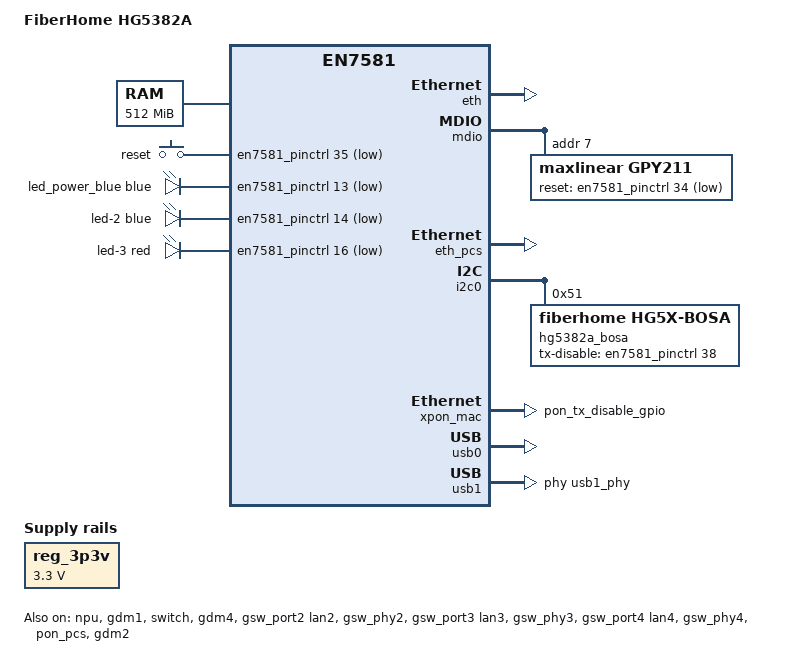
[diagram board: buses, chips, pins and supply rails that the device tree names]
// SPDX-License-Identifier: (GPL-2.0-only OR BSD-2-Clause)
/dts-v1/;

/* Firmware reserves the first 2 MiB of DRAM. */
/memreserve/ 0x80000000 0x200000;

#include <dt-bindings/gpio/gpio.h>
#include <dt-bindings/input/input.h>
#include <dt-bindings/leds/common.h>
#include "an7581.dtsi"
#include "an7581-fiberhome-ubi-parts.dtsi"

/* FiberHome HG5382A board description. */

/ {
	model = "FiberHome HG5382A";
	compatible = "fiberhome,hg5382a", "airoha,an7581", "airoha,en7581";

	aliases {
		/* OpenWrt diag state controls the power LED. */
		led-boot = &led_power_blue;
		led-failsafe = &led_power_blue;
		led-running = &led_power_blue;
		led-upgrade = &led_power_blue;

		serial0 = &uart1;
	};

	chosen {
		/* fitblk locates the FIT-embedded read-only rootfs through this volume. */
		rootdisk = <&ubi_fit>;
		bootargs = "console=ttyS0,115200 earlycon";
		stdout-path = "serial0:115200n8";
	};

	memory@80000000 {
		device_type = "memory";
		reg = <0x0 0x80000000 0x0 0x20000000>;
	};

	keys {
		compatible = "gpio-keys";

		key-reset {
			label = "reset";
			linux,code = <KEY_RESTART>;
			/* The reset key drives GPIO35 low. */
			gpios = <&en7581_pinctrl 35 GPIO_ACTIVE_LOW>;
			debounce-interval = <60>;
		};
	};

	leds {
		compatible = "gpio-leds";

		/* The active-low power LED is connected to GPIO13. */
		led_power_blue: led-0 {
			color = <LED_COLOR_ID_BLUE>;
			function = LED_FUNCTION_POWER;
			gpios = <&en7581_pinctrl 13 GPIO_ACTIVE_LOW>;
		};

		/* PON registration maps O1-O3 to fast blink, O4 to slow blink, and O5 on. */
		led-2 {
			color = <LED_COLOR_ID_BLUE>;
			function = LED_FUNCTION_WAN;
			gpios = <&en7581_pinctrl 14 GPIO_ACTIVE_LOW>;
			linux,default-trigger = "pon0-registration";
		};

		/* The LOS LED follows optical signal loss. */
		led-3 {
			color = <LED_COLOR_ID_RED>;
			function = LED_FUNCTION_WAN;
			gpios = <&en7581_pinctrl 16 GPIO_ACTIVE_LOW>;
			linux,default-trigger = "pon0-los";
		};
	};

	/* The AN7581 USB3 PHY is fed from the always-on 3.3V rail.
	 * VBUS on HG5382A is board-always-on, so no 5V GPIO regulator is needed.
	 */
	reg_3p3v: regulator-3p3v {
		compatible = "regulator-fixed";
		regulator-name = "fixed-3.3V";
		regulator-min-microvolt = <3300000>;
		regulator-max-microvolt = <3300000>;
		regulator-always-on;
		regulator-boot-on;
	};
};

&en7581_pinctrl {
	/* GPIO0 starts at pin 13 on AN7581. */
	gpio-ranges = <&en7581_pinctrl 0 13 50>;

	pon_pins: pon-pins {
		mux {
			/* Leave GPIO38/TX_DISABLE under optical frontend control. */
			function = "pon";
			groups = "pon_tx_disable_gpio";
		};
	};

	mdio_pins: mdio-pins {
		mux {
			function = "mdio";
			groups = "mdio";
		};
	};

	pnand_pins: pnand-pins {
		mux {
			/* Parallel NAND uses GPIO4-7 and GPIO30-42. */
			function = "pnand";
			groups = "pnand";
		};
	};
};

&{/soc} {
	/* HG5382A uses an 8-bit TSOP48 parallel NAND. */
	/delete-node/ spi@1fa10000;
};

&npu {
	status = "okay";
};

&eth {
	status = "okay";
};

&gdm1 {
	/* The switch CPU port uses the board base MAC address. */
	nvmem-cells = <&fiberhome_base_mac>;
	nvmem-cell-names = "mac-address";
	status = "okay";
};

&switch {
	pinctrl-names = "default";
	pinctrl-0 = <&mdio_pins>;
	status = "okay";
};

&mdio {
	/* GPY211 uses MDIO address 7 and active-low GPIO34 reset. */
	gpy211: ethernet-phy@7 {
		/* Clause 45 fallback retains standard MDIO enumeration. */
		compatible = "maxlinear,gpy211",
			     "ethernet-phy-ieee802.3-c45";
		reg = <7>;
		reset-gpios = <&en7581_pinctrl 34 GPIO_ACTIVE_LOW>;
		reset-assert-us = <100000>;
		reset-deassert-us = <100000>;
	};
};

&eth_pcs {
	/* HSGMII connects the external 2.5G LAN PHY. */
	status = "okay";
};

&gdm4 {
	/* The external 2.5G port and switch CPU port share the factory base MAC. */
	nvmem-cells = <&fiberhome_base_mac>;
	nvmem-cell-names = "mac-address";
	status = "okay";
	phy-handle = <&gpy211>;
	phy-mode = "2500base-x";
	openwrt,netdev-name = "lan1";
};

/* Internal PHY2, PHY3, and PHY4 connect the remaining copper ports. */
&gsw_port2 {
	label = "lan2";
	status = "okay";
};

&gsw_phy2 {
	status = "okay";
};

&gsw_port3 {
	label = "lan3";
	status = "okay";
};

&gsw_phy3 {
	status = "okay";
};

&gsw_port4 {
	label = "lan4";
	status = "okay";
};

&gsw_phy4 {
	status = "okay";
};

&i2c0 {
	status = "okay";

	/* GPIO38 is the active-high optical TX_DISABLE signal. */
	//gn28l95_hg5382a: optical-front-end@51 {
	hg5382a_bosa: optical-front-end@51 {
		compatible = "fiberhome,hg5x-bosa", "airoha,paged-bosa";
		reg = <0x51>;
		/* BURST_EN_INV zero selects active-high BEN. */
		fiberhome,ben-active-high;
		nvmem-cells = <&pon_calibration>;
		nvmem-cell-names = "calibration";
		tx-disable-gpios = <&en7581_pinctrl 38 GPIO_ACTIVE_HIGH>;
		status = "okay";
	};
};

&pon_pcs {
	status = "okay";
};

&xpon_mac {
	pinctrl-names = "default";
	pinctrl-0 = <&pon_pins>;
	//optical-front-end = <&gn28l95_hg5382a>;
	optical-front-end = <&hg5382a_bosa>;
	data-path = <&gdm2>;
	nvmem-cells = <&fiberhome_pon_serial>;
	nvmem-cell-names = "pon-serial";
	status = "okay";
};

&gdm2 {
	/* XG-PON activation and service GEM state drive pon0 carrier. */
	nvmem-cells = <&fiberhome_base_mac>;
	nvmem-cell-names = "mac-address";
	airoha,pon-data-path;
	status = "okay";
};

/* USB host.
 * The AN7581 provides two xHCI controllers; USB 2.0 is always available,
 * USB 3.0 only when the matching Serdes port is wired for USB on the board.
 * Following the reference Nokia XG-040G-MD layout (same SoC, also with a
 * 2.5G port): USB0 keeps the full USB2+USB3 phys, USB1 is used in USB2.0-only
 * mode because its USB3 Serdes lane is shared with PCIe2 and is not routed.
 */
&usb0 {
	status = "okay";

	vusb33-supply = <&reg_3p3v>;

	#address-cells = <1>;
	#size-cells = <0>;

	usb_port1: port@1 {
		reg = <1>;
		#trigger-source-cells = <0>;
	};
};

&usb1 {
	status = "okay";

	mediatek,u3p-dis-msk = <0x1>;
	phys = <&usb1_phy PHY_TYPE_USB2>;
	vusb33-supply = <&reg_3p3v>;

	#address-cells = <1>;
	#size-cells = <0>;

	usb_port2: port@1 {
		reg = <1>;
		#trigger-source-cells = <0>;
	};
};

/* If the board has a USB activity LED, replace XX with its GPIO and uncomment:
&leds {
	led-usb {
		color = <LED_COLOR_ID_GREEN>;
		function = LED_FUNCTION_USB;
		gpios = <&en7581_pinctrl XX GPIO_ACTIVE_LOW>;
		linux,default-trigger = "usbport";
		trigger-sources = <&usb_port1>;
	};
};
*/
